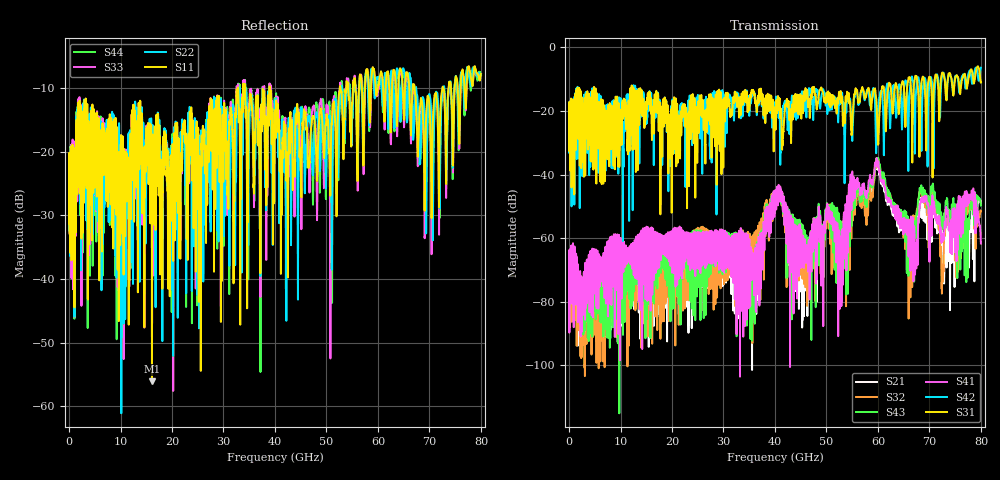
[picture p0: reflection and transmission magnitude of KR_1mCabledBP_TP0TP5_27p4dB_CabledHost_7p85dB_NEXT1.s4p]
!! Reference: shanbhag_3dj_02_2305.pdf
!! CHANNEL DESCRIPTION: TP0_TP5 KR Channel using 1meter Cabled BP, Cabled Host
!! CABLE DESCRIPTION: 1meter 26AWG Cable
!! MODEL STATUS: Developmental
!! PORT DEFINITIONS:
!! Port  1  ----->  Side A  Side B  <-----  Port  2
!! Port  3  ----->  Side A  Side B  <-----  Port  4
# HZ S MA R 50.000000
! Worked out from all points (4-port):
!   8000 points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, 10 MHz to 80 GHz, reference 50 ohm
!   strongest paths, dB at 10 MHz, 20.01 GHz, 40.01 GHz, 60.01 GHz, 80 GHz:
!     S31: -24.5, -22.8, -20.2, -30.2, -11.0
!     S42: -24.5, -20.9, -17.7, -19.4, -6.4
!     S41: -69.4, -69.0, -46.6, -36.0, -61.7
!     S43: -67.9, -69.8, -46.5, -35.0, -49.7
!     S32: -70.8, -69.2, -47.3, -35.5, -51.6
!     S21: -71.4, -71.1, -46.9, -36.6, -48.8
!   lowest |S11| = -56.0 dB at 16.1 GHz (marker M1), VSWR 1.00, Z = 49.9 - j0.0977 ohm
!   |S11| at or under -10 dB: start of sweep to 32.83 GHz; 38.98 GHz to 52.61 GHz (13.63 GHz wide, 29.8 % of centre); 67.12 GHz to 72.52 GHz (5.398 GHz wide, 7.73 % of centre)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
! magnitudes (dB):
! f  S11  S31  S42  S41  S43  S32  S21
! 10 MHz  -22.8  -24.5  -24.5  -69.4  -67.9  -70.8  -71.4
! 16.1 GHz  -56.0  -29.1  -22.5  -61.0  -66.3  -84.2  -71.8
! 35.82 GHz  -25.2  -14.2  -14.4  -65.7  -76.8  -62.3  -74.5
! 40.73 GHz  -15.3  -19.7  -22.1  -43.3  -44.5  -46.5  -43.6
! 46.58 GHz  -21.9  -16.2  -12.9  -61.8  -62.1  -76.0  -72.9
! 59.76 GHz  -10.9  -18.6  -26.5  -34.8  -34.8  -35.0  -35.0
! 80 GHz  -7.8  -11.0  -6.4  -61.7  -49.7  -51.6  -48.8
